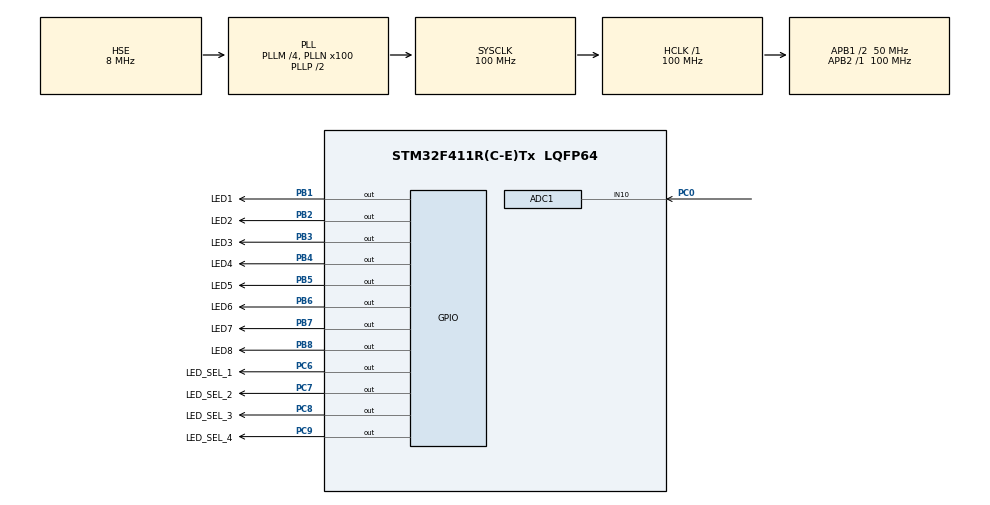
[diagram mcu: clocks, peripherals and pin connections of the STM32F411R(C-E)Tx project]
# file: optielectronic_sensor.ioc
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ADC1.Channel-5\#ChannelRegularConversion=ADC_CHANNEL_10
ADC1.NbrOfConversionFlag=1
ADC1.Rank-5\#ChannelRegularConversion=1
ADC1.SamplingTime-5\#ChannelRegularConversion=ADC_SAMPLETIME_3CYCLES
ADC1.master=1
Mcu.Family=STM32F4
Mcu.Name=STM32F411R(C-E)Tx
Mcu.Package=LQFP64
NVIC.ADC_IRQn=true\:0\:0\:true\:false\:true\:true\:true
NVIC.PriorityGroup=NVIC_PRIORITYGROUP_4
NVIC.TIM1_TRG_COM_TIM11_IRQn=true\:0\:0\:false\:false\:true\:true\:true
NVIC.TIM1_UP_TIM10_IRQn=true\:0\:0\:false\:false\:true\:true\:true
PA13.Mode=Serial_Wire
PA13.Signal=SYS_JTMS-SWDIO
PA14.Mode=Serial_Wire
PA14.Signal=SYS_JTCK-SWCLK
PB1.GPIO_Label=LED1
PB1.GPIO_PuPd=GPIO_NOPULL
PB1.Signal=GPIO_Output
PB2.GPIO_Label=LED2
PB2.GPIO_PuPd=GPIO_NOPULL
PB2.Signal=GPIO_Output
PB3.GPIO_Label=LED3
PB3.GPIO_PuPd=GPIO_NOPULL
PB3.Signal=GPIO_Output
PB4.GPIO_Label=LED4
PB4.GPIO_PuPd=GPIO_NOPULL
PB4.Signal=GPIO_Output
PB5.GPIO_Label=LED5
PB5.GPIO_PuPd=GPIO_NOPULL
PB5.Signal=GPIO_Output
PB6.GPIO_Label=LED6
PB6.GPIO_PuPd=GPIO_NOPULL
PB6.Signal=GPIO_Output
PB7.GPIO_Label=LED7
PB7.GPIO_PuPd=GPIO_NOPULL
PB7.Signal=GPIO_Output
PB8.GPIO_Label=LED8
PB8.GPIO_PuPd=GPIO_NOPULL
PB8.Signal=GPIO_Output
PC0.Signal=SharedAnalog_PC0
PC6.GPIO_Label=LED_SEL_1
PC6.GPIO_PuPd=GPIO_NOPULL
PC6.Signal=GPIO_Output
PC7.GPIO_Label=LED_SEL_2
PC7.GPIO_PuPd=GPIO_NOPULL
PC7.Signal=GPIO_Output
PC8.GPIO_Label=LED_SEL_3
PC8.GPIO_PuPd=GPIO_NOPULL
PC8.Signal=GPIO_Output
PC9.GPIO_Label=LED_SEL_4
PC9.GPIO_PuPd=GPIO_NOPULL
PC9.Signal=GPIO_Output
PH0\ -\ OSC_IN.Mode=HSE-External-Clock-Source
PH0\ -\ OSC_IN.Signal=RCC_OSC_IN
PH1\ -\ OSC_OUT.Mode=HSE-External-Clock-Source
PH1\ -\ OSC_OUT.Signal=RCC_OSC_OUT
ProjectManager.HeapSize=0x200
ProjectManager.StackSize=0x400
ProjectManager.TargetToolchain=MDK-ARM V5.27
RCC.48MHZClocksFreq_Value=50000000
RCC.AHBFreq_Value=100000000
RCC.APB1CLKDivider=RCC_HCLK_DIV2
RCC.APB1Freq_Value=50000000
RCC.APB1TimFreq_Value=100000000
RCC.APB2Freq_Value=100000000
RCC.APB2TimFreq_Value=100000000
RCC.CortexFreq_Value=100000000
RCC.HCLKFreq_Value=100000000
RCC.HSE_VALUE=8000000
RCC.HSI_VALUE=16000000
RCC.LSE_VALUE=32768
RCC.PLLM=4
RCC.PLLN=100
RCC.PLLSourceVirtual=RCC_PLLSOURCE_HSE
RCC.SYSCLKFreq_VALUE=100000000
RCC.SYSCLKSource=RCC_SYSCLKSOURCE_PLLCLK
RCC.VCOOutputFreq_Value=200000000
SH.SharedAnalog_PC0.0=GPIO_Analog
SH.SharedAnalog_PC0.1=ADC1_IN10,IN10
TIM10.Period=99
TIM10.Prescaler=99
TIM11.Period=9999
TIM11.Prescaler=9999
VP_TIM10_VS_ClockSourceINT.Mode=Enable_Timer
VP_TIM11_VS_ClockSourceINT.Mode=Enable_Timer
board=custom

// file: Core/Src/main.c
/* USER CODE BEGIN Header */
/**
  ******************************************************************************
  * @file           : main.c
  * @brief          : Main program body
  ******************************************************************************
  * @attention
  *
  * <h2><center>&copy; Copyright (c) 2021 STMicroelectronics.
  * All rights reserved.</center></h2>
  *
  * This software component is licensed by ST under BSD 3-Clause license,
  * the "License"; You may not use this file except in compliance with the
  * License. You may obtain a copy of the License at:
  *                        opensource.org/licenses/BSD-3-Clause
  *
  ******************************************************************************
  */
/* USER CODE END Header */
#include "main.h"

/* USER CODE BEGIN Includes */
#include "arm_math.h"
/* USER CODE END Includes */

/* USER CODE BEGIN PTD */

typedef struct LED {
	uint16_t led_sel[4];
	uint16_t ledx[8];
}LED;

typedef struct LED_Controller {
	unsigned char data[4];
	uint8_t ptr;
	uint16_t led_encode;
	uint16_t led_sel;
	uint8_t dot_plc;
}LED_Controller;
/* USER CODE END PTD */

ADC_HandleTypeDef hadc1;

TIM_HandleTypeDef htim10;
TIM_HandleTypeDef htim11;

/* USER CODE BEGIN PV */
volatile LED_Controller led_ctrl;
volatile LED led;
float adc_value;
/* USER CODE END PV */

void SystemClock_Config(void);
static void MX_GPIO_Init(void);
static void MX_ADC1_Init(void);
static void MX_TIM10_Init(void);
static void MX_TIM11_Init(void);
/* USER CODE BEGIN PFP */
void LED_init(void);
void LED_Controller_init(void);
void LED_Controller_setdata(float data);
void LED_dy_ctrl(void);
void LED_dis(void);
/* USER CODE END PFP */

int main(void)
{

  /* MCU Configuration--------------------------------------------------------*/

  /* Reset of all peripherals, Initializes the Flash interface and the Systick. */
  HAL_Init();

  /* Configure the system clock */
  SystemClock_Config();

  /* Initialize all configured peripherals */
  MX_GPIO_Init();
  MX_ADC1_Init();
  MX_TIM10_Init();
  MX_TIM11_Init();
  /* USER CODE BEGIN 2 */
	LED_init();
	LED_Controller_init();
	HAL_TIM_Base_Start_IT(&htim10);
	HAL_TIM_Base_Start_IT(&htim11);
  /* USER CODE END 2 */

  /* Infinite loop */
  while (1)
  {

  }
}

void SystemClock_Config(void)
{
  RCC_OscInitTypeDef RCC_OscInitStruct = {0};
  RCC_ClkInitTypeDef RCC_ClkInitStruct = {0};

  /** Configure the main internal regulator output voltage
  */
  __HAL_RCC_PWR_CLK_ENABLE();
  __HAL_PWR_VOLTAGESCALING_CONFIG(PWR_REGULATOR_VOLTAGE_SCALE1);
  /** Initializes the RCC Oscillators according to the specified parameters
  * in the RCC_OscInitTypeDef structure.
  */
  RCC_OscInitStruct.OscillatorType = RCC_OSCILLATORTYPE_HSE;
  RCC_OscInitStruct.HSEState = RCC_HSE_BYPASS;
  RCC_OscInitStruct.PLL.PLLState = RCC_PLL_ON;
  RCC_OscInitStruct.PLL.PLLSource = RCC_PLLSOURCE_HSE;
  RCC_OscInitStruct.PLL.PLLM = 4;
  RCC_OscInitStruct.PLL.PLLN = 100;
  RCC_OscInitStruct.PLL.PLLP = RCC_PLLP_DIV2;
  RCC_OscInitStruct.PLL.PLLQ = 4;
  if (HAL_RCC_OscConfig(&RCC_OscInitStruct) != HAL_OK)
  {
    Error_Handler();
  }
  /** Initializes the CPU, AHB and APB buses clocks
  */
  RCC_ClkInitStruct.ClockType = RCC_CLOCKTYPE_HCLK|RCC_CLOCKTYPE_SYSCLK
                              |RCC_CLOCKTYPE_PCLK1|RCC_CLOCKTYPE_PCLK2;
  RCC_ClkInitStruct.SYSCLKSource = RCC_SYSCLKSOURCE_PLLCLK;
  RCC_ClkInitStruct.AHBCLKDivider = RCC_SYSCLK_DIV1;
  RCC_ClkInitStruct.APB1CLKDivider = RCC_HCLK_DIV2;
  RCC_ClkInitStruct.APB2CLKDivider = RCC_HCLK_DIV1;

  if (HAL_RCC_ClockConfig(&RCC_ClkInitStruct, FLASH_LATENCY_3) != HAL_OK)
  {
    Error_Handler();
  }
}

static void MX_ADC1_Init(void)
{

  ADC_ChannelConfTypeDef sConfig = {0};

  /** Configure the global features of the ADC (Clock, Resolution, Data Alignment and number of conversion)
  */
  hadc1.Instance = ADC1;
  hadc1.Init.ClockPrescaler = ADC_CLOCK_SYNC_PCLK_DIV4;
  hadc1.Init.Resolution = ADC_RESOLUTION_12B;
  hadc1.Init.ScanConvMode = DISABLE;
  hadc1.Init.ContinuousConvMode = DISABLE;
  hadc1.Init.DiscontinuousConvMode = DISABLE;
  hadc1.Init.ExternalTrigConvEdge = ADC_EXTERNALTRIGCONVEDGE_NONE;
  hadc1.Init.ExternalTrigConv = ADC_SOFTWARE_START;
  hadc1.Init.DataAlign = ADC_DATAALIGN_RIGHT;
  hadc1.Init.NbrOfConversion = 1;
  hadc1.Init.DMAContinuousRequests = DISABLE;
  hadc1.Init.EOCSelection = ADC_EOC_SINGLE_CONV;
  if (HAL_ADC_Init(&hadc1) != HAL_OK)
  {
    Error_Handler();
  }
  /** Configure for the selected ADC regular channel its corresponding rank in the sequencer and its sample time.
  */
  sConfig.Channel = ADC_CHANNEL_10;
  sConfig.Rank = 1;
  sConfig.SamplingTime = ADC_SAMPLETIME_3CYCLES;
  if (HAL_ADC_ConfigChannel(&hadc1, &sConfig) != HAL_OK)
  {
    Error_Handler();
  }

}

static void MX_TIM10_Init(void)
{

  htim10.Instance = TIM10;
  htim10.Init.Prescaler = 99;
  htim10.Init.CounterMode = TIM_COUNTERMODE_UP;
  htim10.Init.Period = 99;
  htim10.Init.ClockDivision = TIM_CLOCKDIVISION_DIV1;
  htim10.Init.AutoReloadPreload = TIM_AUTORELOAD_PRELOAD_DISABLE;
  if (HAL_TIM_Base_Init(&htim10) != HAL_OK)
  {
    Error_Handler();
  }

}

static void MX_TIM11_Init(void)
{

  htim11.Instance = TIM11;
  htim11.Init.Prescaler = 9999;
  htim11.Init.CounterMode = TIM_COUNTERMODE_UP;
  htim11.Init.Period = 9999;
  htim11.Init.ClockDivision = TIM_CLOCKDIVISION_DIV1;
  htim11.Init.AutoReloadPreload = TIM_AUTORELOAD_PRELOAD_DISABLE;
  if (HAL_TIM_Base_Init(&htim11) != HAL_OK)
  {
    Error_Handler();
  }

}

static void MX_GPIO_Init(void)
{
  GPIO_InitTypeDef GPIO_InitStruct = {0};

  /* GPIO Ports Clock Enable */
  __HAL_RCC_GPIOH_CLK_ENABLE();
  __HAL_RCC_GPIOC_CLK_ENABLE();
  __HAL_RCC_GPIOB_CLK_ENABLE();
  __HAL_RCC_GPIOA_CLK_ENABLE();

  /*Configure GPIO pin Output Level */
  HAL_GPIO_WritePin(GPIOB, LED1_Pin|LED2_Pin|LED3_Pin|LED4_Pin
                          |LED5_Pin|LED6_Pin|LED7_Pin|LED8_Pin, GPIO_PIN_RESET);

  /*Configure GPIO pin Output Level */
  HAL_GPIO_WritePin(GPIOC, LED_SEL_1_Pin|LED_SEL_2_Pin|LED_SEL_3_Pin|LED_SEL_4_Pin, GPIO_PIN_RESET);

  /*Configure GPIO pins : LED1_Pin LED2_Pin LED3_Pin LED4_Pin
                           LED5_Pin LED6_Pin LED7_Pin LED8_Pin */
  GPIO_InitStruct.Pin = LED1_Pin|LED2_Pin|LED3_Pin|LED4_Pin
                          |LED5_Pin|LED6_Pin|LED7_Pin|LED8_Pin;
  GPIO_InitStruct.Mode = GPIO_MODE_OUTPUT_PP;
  GPIO_InitStruct.Pull = GPIO_NOPULL;
  GPIO_InitStruct.Speed = GPIO_SPEED_FREQ_LOW;
  HAL_GPIO_Init(GPIOB, &GPIO_InitStruct);

  /*Configure GPIO pins : LED_SEL_1_Pin LED_SEL_2_Pin LED_SEL_3_Pin LED_SEL_4_Pin */
  GPIO_InitStruct.Pin = LED_SEL_1_Pin|LED_SEL_2_Pin|LED_SEL_3_Pin|LED_SEL_4_Pin;
  GPIO_InitStruct.Mode = GPIO_MODE_OUTPUT_PP;
  GPIO_InitStruct.Pull = GPIO_NOPULL;
  GPIO_InitStruct.Speed = GPIO_SPEED_FREQ_LOW;
  HAL_GPIO_Init(GPIOC, &GPIO_InitStruct);

}

/* USER CODE BEGIN 4 */
void HAL_TIM_PeriodElapsedCallback(TIM_HandleTypeDef *htim) {
	if(htim->Instance == TIM10) {
		LED_dis();
	}
	if(htim->Instance == TIM11) {
		HAL_ADC_Start_IT(&hadc1);
	}
}

void HAL_ADC_ConvCpltCallback(ADC_HandleTypeDef* hadc) {
		HAL_ADC_Stop_IT(&hadc1);
		uint32_t AD_value = HAL_ADC_GetValue(&hadc1);
		adc_value = (double) AD_value * 3.3 / 4096;
	  const double A = 0.0009321, B = -0.5941, C = 111.5, R = 250;
		volatile double Rx = (5.0 * R) / adc_value - R, distance = A * Rx * Rx + B * Rx + C;
		LED_Controller_setdata(distance);
}

void LED_init() {
	led.led_sel[0] = GPIO_PIN_6;
	led.led_sel[1] = GPIO_PIN_7;
	led.led_sel[2] = GPIO_PIN_8;
	led.led_sel[3] = GPIO_PIN_9;
	led.ledx[0] = GPIO_PIN_1;
	led.ledx[1] = GPIO_PIN_2;
	led.ledx[2] = GPIO_PIN_3;
	led.ledx[3] = GPIO_PIN_4;
	led.ledx[4] = GPIO_PIN_5;
	led.ledx[5] = GPIO_PIN_6;
	led.ledx[6] = GPIO_PIN_7;
	led.ledx[7] = GPIO_PIN_8;
}

void LED_Controller_init() {
		led_ctrl.ptr = 0;
		led_ctrl.led_encode = 0;
		led_ctrl.led_sel = 0;
		for(int i = 0; i < 8; i++) {
			led_ctrl.led_encode = led_ctrl.led_encode | led.ledx[i];
		}
		for(int i = 0; i < 3; i++) {
			led_ctrl.led_sel = led_ctrl.led_sel | led.led_sel[i];
		}
		HAL_GPIO_WritePin(GPIOB, led_ctrl.led_encode, GPIO_PIN_SET);
		HAL_GPIO_WritePin(GPIOC, led_ctrl.led_sel, GPIO_PIN_RESET);
}

void LED_Controller_setdata(float data) {
		int inter = (int) data;
		int ptr  = 0;
	while (inter > 0 && ptr < 4) {
		led_ctrl.dot_plc = ptr;
		led_ctrl.data[ptr++] = inter % 10;
		inter /= 10;
	}
	data = data - (int) data;
	while (ptr < 4) {
		data = data * 10;
		led_ctrl.data[ptr++] = (int) data;
		data = data - (int)data;
	}
}

void LED_dis() {
	HAL_GPIO_WritePin(GPIOB, led_ctrl.led_encode, GPIO_PIN_SET);
	HAL_GPIO_WritePin(GPIOC, led_ctrl.led_sel, GPIO_PIN_RESET);
	unsigned char data = led_ctrl.data[led_ctrl.ptr];
	switch(data) {
		case 0 : led_ctrl.led_encode = led.ledx[0] | led.ledx[1] | led.ledx[2] | led.ledx[3] | led.ledx[4] | led.ledx[5];
		break;
		case 1 : led_ctrl.led_encode = led.ledx[1] | led.ledx[2];
		break;
		case 2 : led_ctrl.led_encode = led.ledx[0] | led.ledx[1] | led.ledx[3] | led.ledx[4] | led.ledx[6];
		break;
		case 3 : led_ctrl.led_encode = led.ledx[0] | led.ledx[1] | led.ledx[2] | led.ledx[3] | led.ledx[6];
		break;
		case 4 : led_ctrl.led_encode = led.ledx[1] | led.ledx[2] | led.ledx[5] | led.ledx[6];
		break;
		case 5 : led_ctrl.led_encode = led.ledx[0] | led.ledx[2] | led.ledx[3] | led.ledx[5] | led.ledx[6];
		break;
		case 6 : led_ctrl.led_encode = led.ledx[0] | led.ledx[2] | led.ledx[3] | led.ledx[4] | led.ledx[5] | led.ledx[6];
		break;
		case 7 : led_ctrl.led_encode = led.ledx[0] | led.ledx[1] | led.ledx[2];
		break;
		case 8 : led_ctrl.led_encode = led.ledx[0] | led.ledx[1] | led.ledx[2] | led.ledx[3] | led.ledx[4] | led.ledx[5] \
		|	led.ledx[6];
		break;
		case 9 : led_ctrl.led_encode = led.ledx[0] | led.ledx[1] | led.ledx[2] | led.ledx[3] | led.ledx[5] | led.ledx[6];
	}
	if(led_ctrl.ptr == led_ctrl.dot_plc) {
		led_ctrl.led_encode = led_ctrl.led_encode | led.ledx[7];
	}
	switch(led_ctrl.ptr) {
		case 0 : led_ctrl.led_sel = led.led_sel[0]; led_ctrl.ptr = 1; break;
		case 1 : led_ctrl.led_sel = led.led_sel[1]; led_ctrl.ptr = 2; break;
		case 2 : led_ctrl.led_sel = led.led_sel[2]; led_ctrl.ptr = 3; break;
		case 3 : led_ctrl.led_sel = led.led_sel[3]; led_ctrl.ptr = 0; break;
	}

	HAL_GPIO_WritePin(GPIOB, led_ctrl.led_encode, GPIO_PIN_RESET);
	HAL_GPIO_WritePin(GPIOC, led_ctrl.led_sel, GPIO_PIN_SET);
}

/* USER CODE END 4 */

void Error_Handler(void)
{
  __disable_irq();
  while (1)
  {
  }
}

/************************ (C) COPYRIGHT STMicroelectronics *****END OF FILE****/
